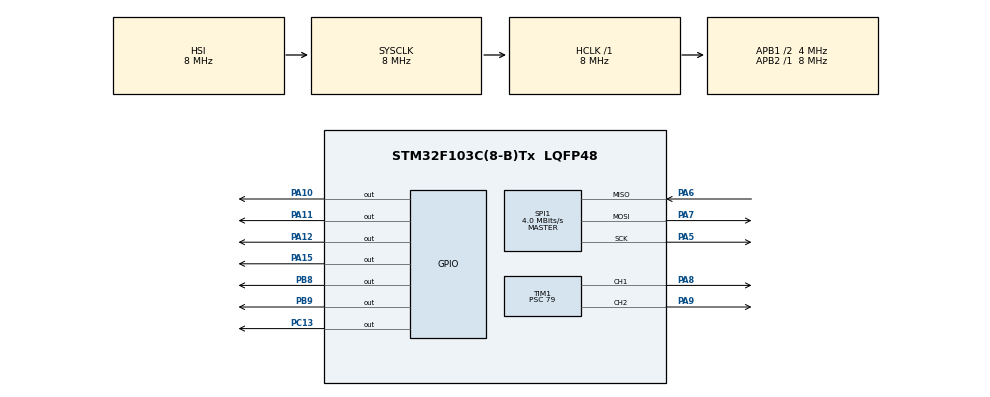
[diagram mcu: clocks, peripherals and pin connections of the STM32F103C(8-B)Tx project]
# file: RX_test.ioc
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Mcu.Family=STM32F1
Mcu.Name=STM32F103C(8-B)Tx
Mcu.Package=LQFP48
NVIC.PriorityGroup=NVIC_PRIORITYGROUP_4
PA10.Signal=GPIO_Output
PA11.Signal=GPIO_Output
PA12.Signal=GPIO_Output
PA13.Mode=Serial_Wire
PA13.Signal=SYS_JTMS-SWDIO
PA14.Mode=Serial_Wire
PA14.Signal=SYS_JTCK-SWCLK
PA15.Signal=GPIO_Output
PA5.Mode=Full_Duplex_Master
PA5.Signal=SPI1_SCK
PA6.Mode=Full_Duplex_Master
PA6.Signal=SPI1_MISO
PA7.Mode=Full_Duplex_Master
PA7.Signal=SPI1_MOSI
PA8.Signal=S_TIM1_CH1
PA9.Signal=S_TIM1_CH2
PB8.Signal=GPIO_Output
PB9.Signal=GPIO_Output
PC13-TAMPER-RTC.Signal=GPIO_Output
PD0-OSC_IN.Mode=HSE-External-Oscillator
PD0-OSC_IN.Signal=RCC_OSC_IN
PD1-OSC_OUT.Mode=HSE-External-Oscillator
PD1-OSC_OUT.Signal=RCC_OSC_OUT
ProjectManager.HeapSize=0x200
ProjectManager.StackSize=0x400
ProjectManager.TargetToolchain=MDK-ARM V5.32
RCC.AHBFreq_Value=8000000
RCC.APB1CLKDivider=RCC_HCLK_DIV2
RCC.APB1Freq_Value=4000000
RCC.APB1TimFreq_Value=8000000
RCC.APB2Freq_Value=8000000
RCC.APB2TimFreq_Value=8000000
RCC.HCLKFreq_Value=8000000
RCC.SYSCLKFreq_VALUE=8000000
RCC.USBFreq_Value=8000000
SH.S_TIM1_CH1.0=TIM1_CH1,PWM Generation1 CH1
SH.S_TIM1_CH2.0=TIM1_CH2,PWM Generation2 CH2
SPI1.BaudRatePrescaler=SPI_BAUDRATEPRESCALER_2
SPI1.CalculateBaudRate=4.0 MBits/s
SPI1.Direction=SPI_DIRECTION_2LINES
SPI1.Mode=SPI_MODE_MASTER
SPI1.VirtualType=VM_MASTER
TIM1.Channel-PWM\ Generation1\ CH1=TIM_CHANNEL_1
TIM1.Channel-PWM\ Generation2\ CH2=TIM_CHANNEL_2
TIM1.Period=999
TIM1.Prescaler=79
TIM1.Pulse-PWM\ Generation1\ CH1=0
VP_TIM1_VS_ClockSourceINT.Mode=Internal
board=custom

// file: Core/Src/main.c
/* USER CODE BEGIN Header */
/**
  ******************************************************************************
  * @file           : main.c
  * @brief          : Main program body
  ******************************************************************************
  * @attention
  *
  * Copyright (c) 2024 STMicroelectronics.
  * All rights reserved.
  *
  * This software is licensed under terms that can be found in the LICENSE file
  * in the root directory of this software component.
  * If no LICENSE file comes with this software, it is provided AS-IS.
  *
  ******************************************************************************
  */
/* USER CODE END Header */
#include "main.h"

/* USER CODE BEGIN Includes */
#include "MY_NRF24.h"
#include "stdio.h"
#include "string.h"

#define   RIGHT_FORWARD(x)  HAL_GPIO_WritePin(GPIOA,GPIO_PIN_15,x)  //right motors forward
#define   RIGHT_BACKWARD(x)  HAL_GPIO_WritePin(GPIOA,GPIO_PIN_12,x)  //right motors forward
#define   LEFT_FORWARD(x)  HAL_GPIO_WritePin(GPIOA,GPIO_PIN_11,x)  //right motors forward
#define   LEFT_BACKWARD(x)  HAL_GPIO_WritePin(GPIOA,GPIO_PIN_10,x)  //right motors forward

/* USER CODE END Includes */

SPI_HandleTypeDef hspi1;

TIM_HandleTypeDef htim1;

void SystemClock_Config(void);
static void MX_GPIO_Init(void);
static void MX_SPI1_Init(void);
static void MX_TIM1_Init(void);

/* USER CODE BEGIN 0 */
uint64_t RxpipeAddrs = 0x11223344AA;
char myRxData[50];
uint8_t Rx_command = 0;
uint8_t Speed_index = 0;
uint32_t Speed =0;

/* USER CODE END 0 */

int main(void)
{

  /* MCU Configuration--------------------------------------------------------*/

  /* Reset of all peripherals, Initializes the Flash interface and the Systick. */
  HAL_Init();

  /* Configure the system clock */
  SystemClock_Config();

  /* Initialize all configured peripherals */
  MX_GPIO_Init();
  MX_SPI1_Init();
  MX_TIM1_Init();
  /* USER CODE BEGIN 2 */

	HAL_TIM_PWM_Start(&htim1, TIM_CHANNEL_1);
	NRF24_begin(GPIOB, GPIO_PIN_9, GPIO_PIN_8, hspi1);

	NRF24_startListening();
	NRF24_openReadingPipe(1, RxpipeAddrs);

	NRF24_setAutoAck(true);
	NRF24_setChannel(52);
	NRF24_setPayloadSize(32);

	NRF24_enableDynamicPayloads();
	NRF24_enableAckPayload();

	HAL_TIM_PWM_Start(&htim1, TIM_CHANNEL_1);
	HAL_TIM_PWM_Start(&htim1, TIM_CHANNEL_2);

  /* USER CODE END 2 */

  /* Infinite loop */
  while (1)
  {

    /* USER CODE BEGIN 3 */
		if(NRF24_available())
		{
		NRF24_read(myRxData, 32);
		}

		Rx_command = myRxData[0];
		Speed_index = myRxData[1];
		if (Speed_index ==0) Speed =0;
		else Speed = Speed_index *250-1;
		__HAL_TIM_SET_COMPARE(&htim1, TIM_CHANNEL_1,Speed);
		__HAL_TIM_SET_COMPARE(&htim1, TIM_CHANNEL_2,Speed);

		if (Rx_command ==1)// move forward
		{
			RIGHT_FORWARD(1);
			LEFT_FORWARD(1);
			RIGHT_BACKWARD(0);
			LEFT_BACKWARD(0);
		}
		else if (Rx_command ==2)// move reverse
		{
			RIGHT_FORWARD(0);
			LEFT_FORWARD(0);
			RIGHT_BACKWARD(1);
			LEFT_BACKWARD (1);
		}
		else if (Rx_command ==3)// left
		{
			RIGHT_FORWARD(1);
			LEFT_BACKWARD(1);
			RIGHT_BACKWARD(0);
			LEFT_FORWARD(0);
		}
		else if (Rx_command ==4) // right
		{
			LEFT_FORWARD(1);
			RIGHT_BACKWARD(1);
			LEFT_BACKWARD(0);
			RIGHT_FORWARD(0);
		}
		else if (Rx_command ==0)
		{
			LEFT_FORWARD(0);
			RIGHT_BACKWARD(0);
			LEFT_BACKWARD(0);
			RIGHT_FORWARD(0);
		}
		else
		{
			LEFT_FORWARD(0);
			RIGHT_BACKWARD(0);
			LEFT_BACKWARD(0);
			RIGHT_FORWARD(0);
		}

  }
  /* USER CODE END 3 */
}

void SystemClock_Config(void)
{
  RCC_OscInitTypeDef RCC_OscInitStruct = {0};
  RCC_ClkInitTypeDef RCC_ClkInitStruct = {0};

  /** Initializes the RCC Oscillators according to the specified parameters
  * in the RCC_OscInitTypeDef structure.
  */
  RCC_OscInitStruct.OscillatorType = RCC_OSCILLATORTYPE_HSI;
  RCC_OscInitStruct.HSIState = RCC_HSI_ON;
  RCC_OscInitStruct.HSICalibrationValue = RCC_HSICALIBRATION_DEFAULT;
  RCC_OscInitStruct.PLL.PLLState = RCC_PLL_NONE;
  if (HAL_RCC_OscConfig(&RCC_OscInitStruct) != HAL_OK)
  {
    Error_Handler();
  }

  /** Initializes the CPU, AHB and APB buses clocks
  */
  RCC_ClkInitStruct.ClockType = RCC_CLOCKTYPE_HCLK|RCC_CLOCKTYPE_SYSCLK
                              |RCC_CLOCKTYPE_PCLK1|RCC_CLOCKTYPE_PCLK2;
  RCC_ClkInitStruct.SYSCLKSource = RCC_SYSCLKSOURCE_HSI;
  RCC_ClkInitStruct.AHBCLKDivider = RCC_SYSCLK_DIV1;
  RCC_ClkInitStruct.APB1CLKDivider = RCC_HCLK_DIV2;
  RCC_ClkInitStruct.APB2CLKDivider = RCC_HCLK_DIV1;

  if (HAL_RCC_ClockConfig(&RCC_ClkInitStruct, FLASH_LATENCY_0) != HAL_OK)
  {
    Error_Handler();
  }
}

static void MX_SPI1_Init(void)
{

  /* SPI1 parameter configuration*/
  hspi1.Instance = SPI1;
  hspi1.Init.Mode = SPI_MODE_MASTER;
  hspi1.Init.Direction = SPI_DIRECTION_2LINES;
  hspi1.Init.DataSize = SPI_DATASIZE_8BIT;
  hspi1.Init.CLKPolarity = SPI_POLARITY_LOW;
  hspi1.Init.CLKPhase = SPI_PHASE_1EDGE;
  hspi1.Init.NSS = SPI_NSS_SOFT;
  hspi1.Init.BaudRatePrescaler = SPI_BAUDRATEPRESCALER_2;
  hspi1.Init.FirstBit = SPI_FIRSTBIT_MSB;
  hspi1.Init.TIMode = SPI_TIMODE_DISABLE;
  hspi1.Init.CRCCalculation = SPI_CRCCALCULATION_DISABLE;
  hspi1.Init.CRCPolynomial = 10;
  if (HAL_SPI_Init(&hspi1) != HAL_OK)
  {
    Error_Handler();
  }

}

static void MX_TIM1_Init(void)
{

  TIM_ClockConfigTypeDef sClockSourceConfig = {0};
  TIM_MasterConfigTypeDef sMasterConfig = {0};
  TIM_OC_InitTypeDef sConfigOC = {0};
  TIM_BreakDeadTimeConfigTypeDef sBreakDeadTimeConfig = {0};

  htim1.Instance = TIM1;
  htim1.Init.Prescaler = 79;
  htim1.Init.CounterMode = TIM_COUNTERMODE_UP;
  htim1.Init.Period = 999;
  htim1.Init.ClockDivision = TIM_CLOCKDIVISION_DIV1;
  htim1.Init.RepetitionCounter = 0;
  htim1.Init.AutoReloadPreload = TIM_AUTORELOAD_PRELOAD_DISABLE;
  if (HAL_TIM_Base_Init(&htim1) != HAL_OK)
  {
    Error_Handler();
  }
  sClockSourceConfig.ClockSource = TIM_CLOCKSOURCE_INTERNAL;
  if (HAL_TIM_ConfigClockSource(&htim1, &sClockSourceConfig) != HAL_OK)
  {
    Error_Handler();
  }
  if (HAL_TIM_PWM_Init(&htim1) != HAL_OK)
  {
    Error_Handler();
  }
  sMasterConfig.MasterOutputTrigger = TIM_TRGO_RESET;
  sMasterConfig.MasterSlaveMode = TIM_MASTERSLAVEMODE_DISABLE;
  if (HAL_TIMEx_MasterConfigSynchronization(&htim1, &sMasterConfig) != HAL_OK)
  {
    Error_Handler();
  }
  sConfigOC.OCMode = TIM_OCMODE_PWM1;
  sConfigOC.Pulse = 0;
  sConfigOC.OCPolarity = TIM_OCPOLARITY_HIGH;
  sConfigOC.OCNPolarity = TIM_OCNPOLARITY_HIGH;
  sConfigOC.OCFastMode = TIM_OCFAST_DISABLE;
  sConfigOC.OCIdleState = TIM_OCIDLESTATE_RESET;
  sConfigOC.OCNIdleState = TIM_OCNIDLESTATE_RESET;
  if (HAL_TIM_PWM_ConfigChannel(&htim1, &sConfigOC, TIM_CHANNEL_1) != HAL_OK)
  {
    Error_Handler();
  }
  if (HAL_TIM_PWM_ConfigChannel(&htim1, &sConfigOC, TIM_CHANNEL_2) != HAL_OK)
  {
    Error_Handler();
  }
  sBreakDeadTimeConfig.OffStateRunMode = TIM_OSSR_DISABLE;
  sBreakDeadTimeConfig.OffStateIDLEMode = TIM_OSSI_DISABLE;
  sBreakDeadTimeConfig.LockLevel = TIM_LOCKLEVEL_OFF;
  sBreakDeadTimeConfig.DeadTime = 0;
  sBreakDeadTimeConfig.BreakState = TIM_BREAK_DISABLE;
  sBreakDeadTimeConfig.BreakPolarity = TIM_BREAKPOLARITY_HIGH;
  sBreakDeadTimeConfig.AutomaticOutput = TIM_AUTOMATICOUTPUT_DISABLE;
  if (HAL_TIMEx_ConfigBreakDeadTime(&htim1, &sBreakDeadTimeConfig) != HAL_OK)
  {
    Error_Handler();
  }
  HAL_TIM_MspPostInit(&htim1);

}

static void MX_GPIO_Init(void)
{
  GPIO_InitTypeDef GPIO_InitStruct = {0};

  /* GPIO Ports Clock Enable */
  __HAL_RCC_GPIOC_CLK_ENABLE();
  __HAL_RCC_GPIOD_CLK_ENABLE();
  __HAL_RCC_GPIOA_CLK_ENABLE();
  __HAL_RCC_GPIOB_CLK_ENABLE();

  /*Configure GPIO pin Output Level */
  HAL_GPIO_WritePin(GPIOC, GPIO_PIN_13, GPIO_PIN_RESET);

  /*Configure GPIO pin Output Level */
  HAL_GPIO_WritePin(GPIOA, GPIO_PIN_10|GPIO_PIN_11|GPIO_PIN_12|GPIO_PIN_15, GPIO_PIN_RESET);

  /*Configure GPIO pin Output Level */
  HAL_GPIO_WritePin(GPIOB, GPIO_PIN_8|GPIO_PIN_9, GPIO_PIN_RESET);

  /*Configure GPIO pin : PC13 */
  GPIO_InitStruct.Pin = GPIO_PIN_13;
  GPIO_InitStruct.Mode = GPIO_MODE_OUTPUT_PP;
  GPIO_InitStruct.Pull = GPIO_NOPULL;
  GPIO_InitStruct.Speed = GPIO_SPEED_FREQ_LOW;
  HAL_GPIO_Init(GPIOC, &GPIO_InitStruct);

  /*Configure GPIO pins : PA10 PA11 PA12 PA15 */
  GPIO_InitStruct.Pin = GPIO_PIN_10|GPIO_PIN_11|GPIO_PIN_12|GPIO_PIN_15;
  GPIO_InitStruct.Mode = GPIO_MODE_OUTPUT_PP;
  GPIO_InitStruct.Pull = GPIO_NOPULL;
  GPIO_InitStruct.Speed = GPIO_SPEED_FREQ_LOW;
  HAL_GPIO_Init(GPIOA, &GPIO_InitStruct);

  /*Configure GPIO pins : PB8 PB9 */
  GPIO_InitStruct.Pin = GPIO_PIN_8|GPIO_PIN_9;
  GPIO_InitStruct.Mode = GPIO_MODE_OUTPUT_PP;
  GPIO_InitStruct.Pull = GPIO_NOPULL;
  GPIO_InitStruct.Speed = GPIO_SPEED_FREQ_LOW;
  HAL_GPIO_Init(GPIOB, &GPIO_InitStruct);

}

void Error_Handler(void)
{
  __disable_irq();
  while (1)
  {
  }
}
